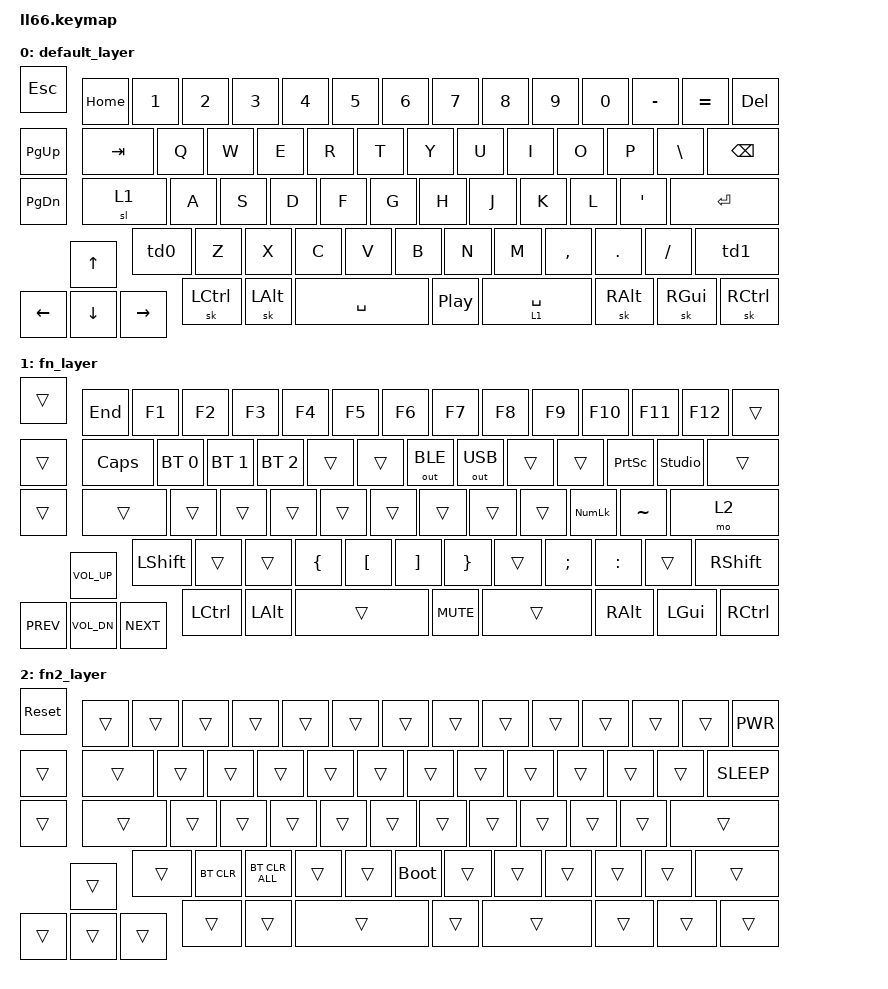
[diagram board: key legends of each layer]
#include <behaviors.dtsi>
#include <dt-bindings/zmk/keys.h>
#include <dt-bindings/zmk/bt.h>
#include <dt-bindings/zmk/outputs.h>

&sk {
    lazy;
};

/ {
      behaviors {
        td0: tap_dance_0 {
            compatible = "zmk,behavior-tap-dance";
            #binding-cells = <0>;
            tapping-term-ms = <200>;
            bindings = <&sk LSHIFT>, <&caps_word>;
        };
        td1: tap_dance_1z {
            compatible = "zmk,behavior-tap-dance";
            #binding-cells = <0>;
            tapping-term-ms = <200>;
            bindings = <&sk RSHIFT>, <&caps_word>;
        };
    };

    keymap {
        compatible = "zmk,keymap";
        
        default_layer {
            bindings = <
                &kp ESC             &kp HOME    &kp N1     &kp N2     &kp N3     &kp N4    &kp N5       &kp N6     &kp N7     &kp N8     &kp N9     &kp N0     &kp MINUS  &kp EQUAL   &kp DEL
                &kp PG_UP           &kp TAB     &kp Q      &kp W      &kp E      &kp R     &kp T        &kp Y      &kp U      &kp I      &kp O      &kp P      &kp BSLH   &kp BSPC
                &kp PG_DN           &sl 1       &kp A      &kp S      &kp D      &kp F     &kp G        &kp H      &kp J      &kp K      &kp L      &kp SQT    &kp RET
                          &kp UP    &td0        &kp Z      &kp X      &kp C      &kp V     &kp B        &kp N      &kp M      &kp COMMA  &kp DOT    &kp SLASH  &td1
                &kp LEFT  &kp DOWN  &kp RIGHT   &sk LCTRL  &sk LALT   &kp SPACE  &kp C_PP  &lt 1 SPACE  &sk RALT   &sk RGUI   &sk RCTRL

            >;
        };

        fn_layer {
            bindings = <
                &trans              &kp END     &kp F1       &kp F2       &kp F3        &kp F4     &kp F5     &kp F6        &kp F7        &kp F8  &kp F9      &kp F10    &kp F11  &kp F12  &trans
                &trans              &kp CAPS    &bt BT_SEL 0 &bt BT_SEL 1 &bt BT_SEL 2  &trans     &trans     &out OUT_BLE  &out OUT_USB  &trans  &trans      &kp PSCRN  &studio_unlock    &trans
                &trans              &trans      &trans       &trans       &trans        &trans     &trans     &trans        &trans        &trans  &kp KP_NUM  &kp TILDE  &mo 2
                        &kp C_VOL_UP  &kp LSHIFT     &trans       &trans        &kp LBRC       &kp LBKT         &kp RBKT     &kp RBRC     &trans     &kp SEMI     &kp COLON     &trans     &kp RSHIFT
                &kp C_PREV  &kp C_VOL_DN   &kp C_NEXT   &kp LCTRL   &kp LALT    &trans      &kp C_MUTE  &trans  &kp RALT   &kp LGUI   &kp RCTRL

            >;
        };

         fn2_layer {
            bindings = <
                &sys_reset         &trans     &trans       &trans       &trans         &trans     &trans     &trans     &trans     &trans     &trans     &trans     &trans     &trans   &kp C_PWR
                &trans             &trans     &trans       &trans       &trans         &trans     &trans     &trans     &trans     &trans     &trans     &trans     &trans     &kp C_SLEEP
                &trans             &trans     &trans       &trans       &trans         &trans     &trans     &trans     &trans     &trans     &trans     &trans     &trans
                        &trans    &trans     &bt BT_CLR   &bt BT_CLR_ALL       &trans         &trans     &bootloader     &trans     &trans     &trans     &trans     &trans   &trans
                &trans  &trans  &trans  &trans    &trans     &trans      &trans  &trans  &trans   &trans   &trans

            >;
        };

                extra1 {
                    status = "reserved";
                };

                extra2 {
                    status = "reserved";
                };

                extra3 {
                    status = "reserved";
                };
        
    };
};
